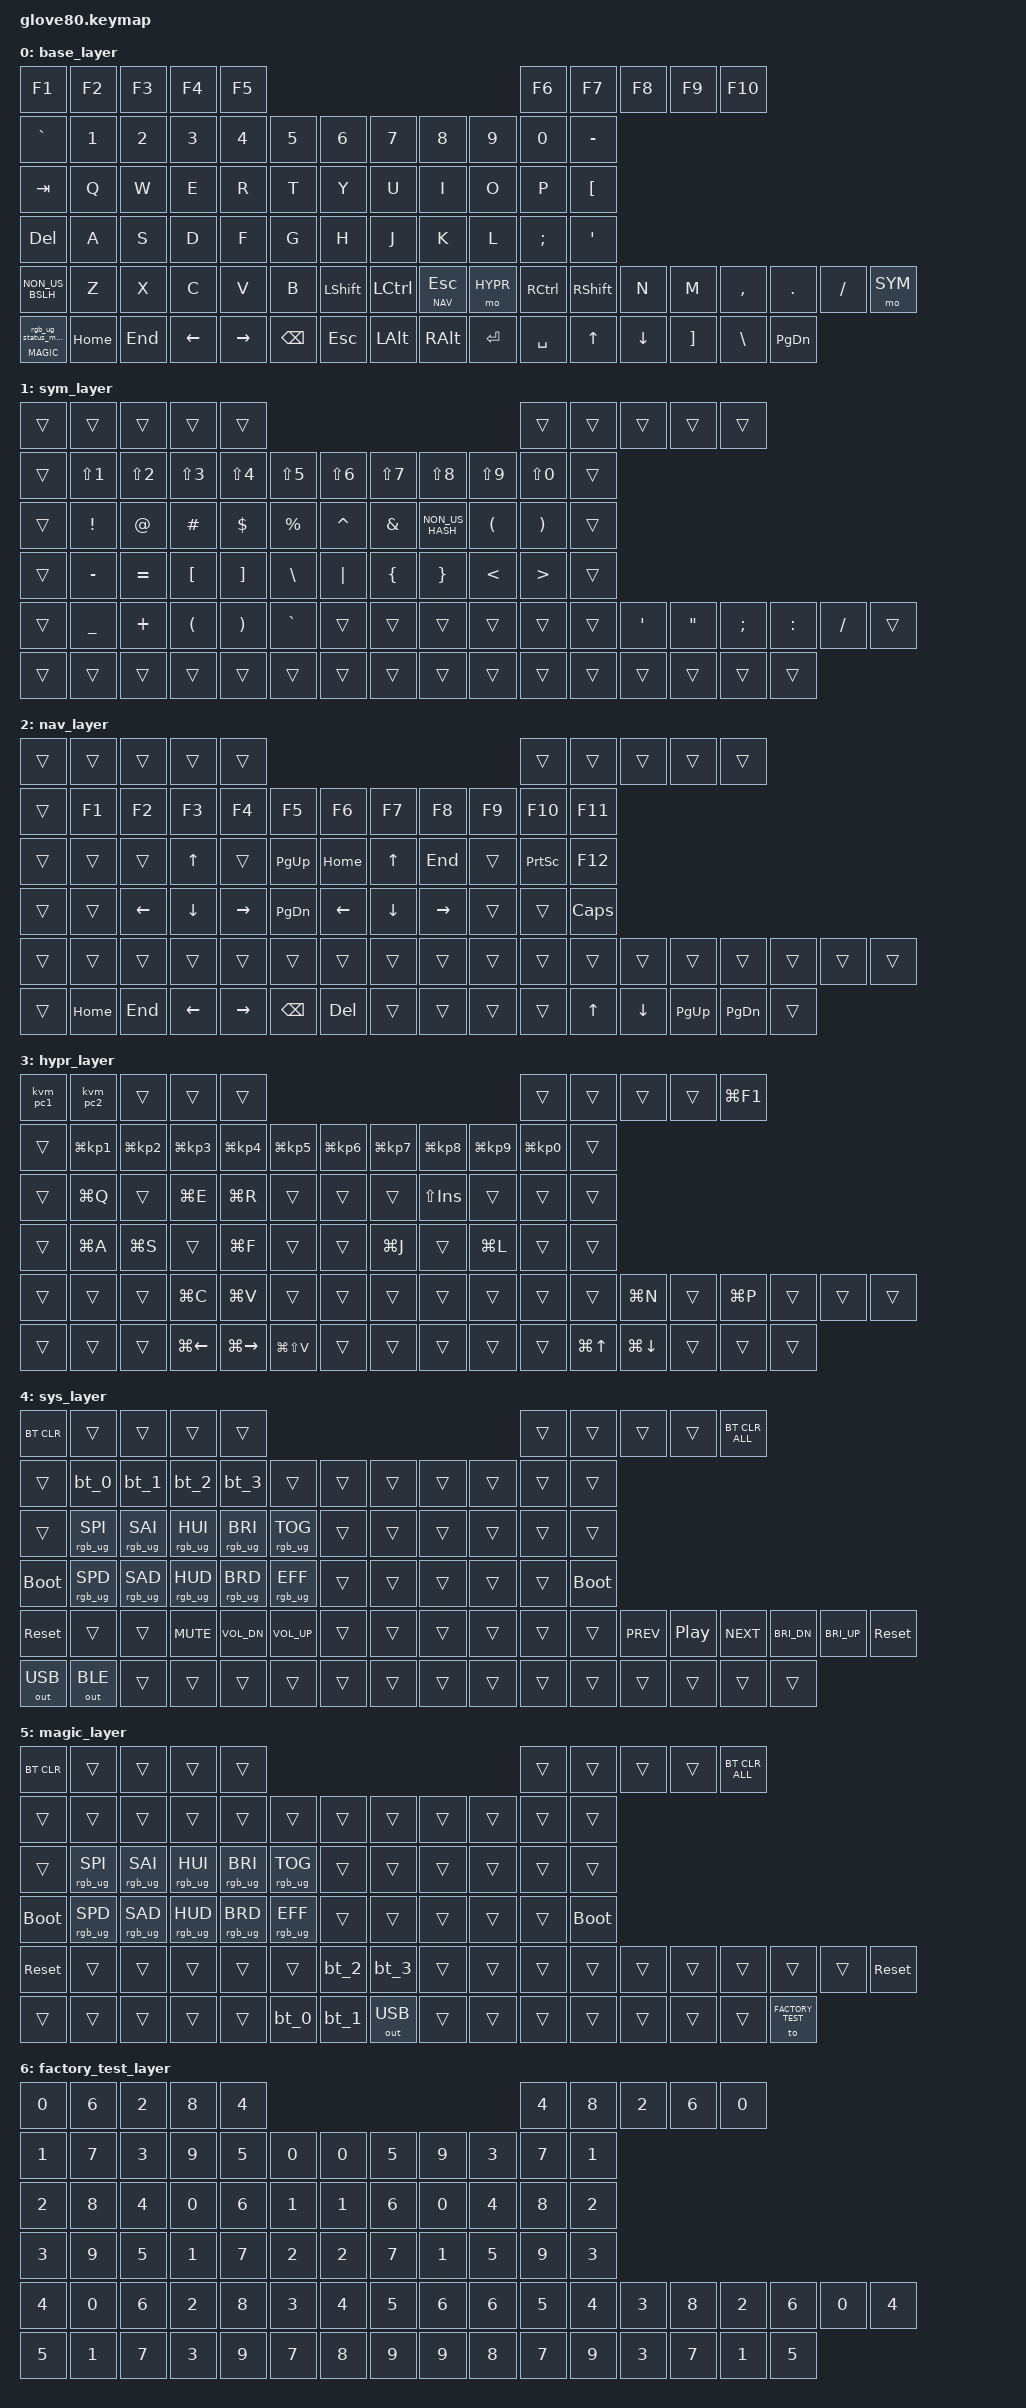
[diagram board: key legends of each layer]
/*
 * Glove80 ZMK config
 *
 * Layers:
 *   0 BASE  — scancodes QWERTY, OS fr/AZERTY fait le mapping
 *   1 SYM   — symboles et chiffres directs
 *   2 NAV   — navigation, F-keys
 *   3 HYPR  — raccourcis Hyprland (Super+key)
 *   4 SYS   — BT, médias, RGB
 *   5 MAGIC — RGB/BT (touche magic bas-gauche)
 *   6 FACTORY_TEST
 *
 * Thumb cluster :
 *   Row5 inner-L : [LSHFT] [LCTRL] [NAV/ESC]
 *   Row5 inner-R : [HYPR]  [RCTRL] [RSHFT]
 *   Row6 outer-L : [BSPC]  [DEL]   [LALT]
 *   Row6 outer-R : [RALT]  [RET]   [SPACE]
 *   Row5 pos 0   : GRAVE (²)   Row5 pos 17 : SYM
 *
 * Layer HYPR — maintenir pouce droit + touche :
 *   F1/F2 = KVM : envoie F14/F13 à l'hôte courant (bascule écran + souris)
 *   puis passe le clavier sur le profil BT 0 (ce PC) / 1 (autre PC).
 *   Shift/Ctrl sont transparents → Super+Shift+X et Super+Ctrl+X marchent
 *   automatiquement en maintenant les modificateurs physiques.
 */

#include <behaviors.dtsi>
#include <dt-bindings/zmk/keys.h>
#include <dt-bindings/zmk/bt.h>
#include <dt-bindings/zmk/ext_power.h>
#include <dt-bindings/zmk/outputs.h>
#include <dt-bindings/zmk/rgb.h>

#define BASE         0
#define SYM          1
#define NAV          2
#define HYPR         3
#define SYS          4
#define MAGIC        5
#define FACTORY_TEST 6

/ {
    behaviors {
        magic: magic_hold_tap {
            compatible = "zmk,behavior-hold-tap";
            label = "MAGIC_HOLD_TAP";
            #binding-cells = <2>;
            flavor = "tap-preferred";
            tapping-term-ms = <200>;
            bindings = <&mo>, <&rgb_ug_status_macro>;
        };
    };

    macros {
        rgb_ug_status_macro: rgb_ug_status_macro_0 {
            label = "RGB_UG_STATUS";
            compatible = "zmk,behavior-macro";
            #binding-cells = <0>;
            bindings = <&rgb_ug RGB_STATUS>;
        };
        bt_0: bt_profile_macro_0 {
            label = "BT_0";
            compatible = "zmk,behavior-macro";
            #binding-cells = <0>;
            bindings = <&out OUT_BLE>, <&bt BT_SEL 0>;
        };
        bt_1: bt_profile_macro_1 {
            label = "BT_1";
            compatible = "zmk,behavior-macro";
            #binding-cells = <0>;
            bindings = <&out OUT_BLE>, <&bt BT_SEL 1>;
        };
        bt_2: bt_profile_macro_2 {
            label = "BT_2";
            compatible = "zmk,behavior-macro";
            #binding-cells = <0>;
            bindings = <&out OUT_BLE>, <&bt BT_SEL 2>;
        };
        bt_3: bt_profile_macro_3 {
            label = "BT_3";
            compatible = "zmk,behavior-macro";
            #binding-cells = <0>;
            bindings = <&out OUT_BLE>, <&bt BT_SEL 3>;
        };
        // KVM: tap F13/F14 on the current host (it hands over screen + mouse),
        // then switch the keyboard itself to the target BT profile.
        kvm_pc1: kvm_pc1_macro {
            label = "KVM_PC1";
            compatible = "zmk,behavior-macro";
            #binding-cells = <0>;
            wait-ms = <30>;
            tap-ms = <30>;
            bindings = <&macro_tap &kp F14>, <&macro_wait_time 300>, <&macro_tap &out OUT_BLE &bt BT_SEL 0>;
        };
        kvm_pc2: kvm_pc2_macro {
            label = "KVM_PC2";
            compatible = "zmk,behavior-macro";
            #binding-cells = <0>;
            wait-ms = <30>;
            tap-ms = <30>;
            bindings = <&macro_tap &kp F13>, <&macro_wait_time 300>, <&macro_tap &out OUT_BLE &bt BT_SEL 1>;
        };
    };

    keymap {
        compatible = "zmk,keymap";

        // ── BASE (L0) ──────────────────────────────────────────────────────────
        // Scancodes QWERTY standard. L'OS fr/AZERTY interprète : Q→a, W→z, etc.
        base_layer {
            bindings = <
            // Row 1 — F-keys (10)
            &kp F1         &kp F2    &kp F3   &kp F4    &kp F5                                                             &kp F6  &kp F7   &kp F8    &kp F9    &kp F10
            // Row 2 — Rangée chiffres AZERTY (12)  ²  &  é  "  '  (  -  è  _  ç  à  )
            &kp GRAVE      &kp N1    &kp N2   &kp N3    &kp N4    &kp N5                                       &kp N6     &kp N7  &kp N8   &kp N9    &kp N0    &kp MINUS
            // Row 3 — Alpha haut (12)  TAB  a  z  e  r  t  |  y  u  i  o  p  ^
            &kp TAB        &kp Q     &kp W    &kp E     &kp R     &kp T                                        &kp Y      &kp U   &kp I    &kp O     &kp P     &kp LBKT
            // Row 4 — Home row (12)   DEL  q  s  d  f  g  |  h  j  k  l  m  ù
            &kp DEL        &kp A     &kp S    &kp D     &kp F     &kp G                                        &kp H      &kp J   &kp K    &kp L     &kp SEMI  &kp SQT
            // Row 5 — Alpha bas + thumbs inner (18)
            // <> z  x  c  v  b  | LSHFT LCTRL NAV/ESC | HYPR RCTRL RSHFT |  n  m  ,  .  /  SYM
            &kp NON_US_BSLH  &kp Z  &kp X  &kp C  &kp V  &kp B   &kp LSHFT  &kp LCTRL  &lt NAV ESC   &mo HYPR  &kp RCTRL  &kp RSHFT   &kp N  &kp M  &kp COMMA  &kp DOT  &kp FSLH  &mo SYM
            // Row 6 — Modifiers + thumbs outer (16)
            // MAGIC HOME END LEFT RIGHT | BSPC ESC LALT | RALT RET SPACE | UP DOWN ] \ PgDn
            &magic MAGIC 0  &kp HOME  &kp END  &kp LEFT  &kp RIGHT   &kp BSPC  &kp ESC  &kp LALT   &kp RALT  &kp RET  &kp SPACE   &kp UP  &kp DOWN  &kp RBKT  &kp BSLH  &kp PG_DN
            >;
        };

        // ── SYM (L1) ───────────────────────────────────────────────────────────
        // Symboles US directs (bypass mapping AZERTY) + chiffres via LS(Nx).
        sym_layer {
            bindings = <
            // Row 1
            &trans  &trans  &trans  &trans  &trans                                              &trans  &trans  &trans  &trans  &trans
            // Row 2 — Chiffres 1-0 (LS(Nx) → AZERTY donne les chiffres)
            &trans  &kp LS(N1)  &kp LS(N2)  &kp LS(N3)  &kp LS(N4)  &kp LS(N5)    &kp LS(N6)  &kp LS(N7)  &kp LS(N8)  &kp LS(N9)  &kp LS(N0)  &trans
            // Row 3 — ! @ # $ % | ^ & * ( )
            &trans  &kp EXCL  &kp AT  &kp HASH  &kp DLLR  &kp PRCNT    &kp CARET  &kp AMPS  &kp NON_US_HASH  &kp LPAR  &kp RPAR  &trans
            // Row 4 — - = [ ] \ | | { } < >
            &trans  &kp MINUS  &kp EQUAL  &kp LBKT  &kp RBKT  &kp BSLH    &kp PIPE  &kp LBRC  &kp RBRC  &kp LT  &kp GT  &trans
            // Row 5 — _ + ( ) ` | ' " ; :
            &trans  &kp UNDER  &kp PLUS  &kp LPAR  &kp RPAR  &kp GRAVE   &trans  &trans  &trans   &trans  &trans  &trans   &kp SQT  &kp DQT  &kp SEMI  &kp COLON  &kp FSLH  &trans
            // Row 6
            &trans  &trans  &trans  &trans  &trans   &trans  &trans  &trans   &trans  &trans  &trans   &trans  &trans  &trans  &trans  &trans
            >;
        };

        // ── NAV (L2) ───────────────────────────────────────────────────────────
        nav_layer {
            bindings = <
            // Row 1
            &trans  &trans  &trans  &trans  &trans                                              &trans  &trans  &trans  &trans  &trans
            // Row 2 — F1-F12
            &trans  &kp F1  &kp F2  &kp F3  &kp F4  &kp F5    &kp F6  &kp F7  &kp F8  &kp F9  &kp F10  &kp F11
            // Row 3 — flèche haut + PgUp
            &trans  &trans  &trans  &kp UP  &trans  &kp PG_UP    &kp HOME  &kp UP  &kp END  &trans  &kp PSCRN  &kp F12
            // Row 4 — flèches
            &trans  &trans  &kp LEFT  &kp DOWN  &kp RIGHT  &kp PG_DN    &kp LEFT  &kp DOWN  &kp RIGHT  &trans  &trans  &kp CAPS
            // Row 5
            &trans  &trans  &trans  &trans  &trans  &trans   &trans  &trans  &trans   &trans  &trans  &trans   &trans  &trans  &trans  &trans  &trans  &trans
            // Row 6
            &trans  &kp HOME  &kp END  &kp LEFT  &kp RIGHT   &kp BSPC  &kp DEL  &trans   &trans  &trans  &trans   &kp UP  &kp DOWN  &kp PG_UP  &kp PG_DN  &trans
            >;
        };

        // ── HYPR (L3) ──────────────────────────────────────────────────────────
        // Maintenir pouce droit (HYPR) + touche = raccourci Hyprland.
        //
        // Modificateurs physiques passent en transparent :
        //   Shift + HYPR + flèche  → Super+Shift+flèche  (déplacer fenêtre)
        //   Ctrl  + HYPR + flèche  → Super+Ctrl+flèche   (groupe workspaces)
        //   Shift + HYPR + chiffre → Super+Shift+KP_Nx   (fenêtre → workspace)
        //
        // Raccourcis mappés (d'après keybinds.conf) :
        //   Q=terminal  E=thunar   R=rofi     F=fullscreen  V=float
        //   A=notifs    S=scratchpad J=split   L=lock        C=kill
        //   N=rename-ws P=pseudo   F1=aide
        //   Flèches = focus (Shift/Ctrl passent automatiquement)
        //   Chiffres 1-0 = workspace (Super+KP_N1..N0)
        //   BSPC-thumb = clipboard (Super+Shift+V)
        hypr_layer {
            bindings = <
            // Row 1 — F1=KVM ce PC (BT0)  F2=KVM autre PC (BT1)  F10=aide raccourcis
            &kvm_pc1  &kvm_pc2  &trans  &trans  &trans                                              &trans  &trans  &trans  &trans  &kp LG(F1)
            // Row 2 — Workspaces 1-10 via KP (correspond aux code:87..90,83..81,79..81,90)
            &trans  &kp LG(KP_N1)  &kp LG(KP_N2)  &kp LG(KP_N3)  &kp LG(KP_N4)  &kp LG(KP_N5)    &kp LG(KP_N6)  &kp LG(KP_N7)  &kp LG(KP_N8)  &kp LG(KP_N9)  &kp LG(KP_N0)  &trans
            // Row 3 — Q=terminal  E=thunar  R=rofi  I=Shift+Insert (coller presse-papier X11)
            &trans  &kp LG(Q)  &trans  &kp LG(E)  &kp LG(R)  &trans    &trans  &trans  &kp LS(INS)  &trans  &trans  &trans
            // Row 4 — A=notifs  S=scratchpad  F=fullscreen  J=split  L=lock
            &trans  &kp LG(A)  &kp LG(S)  &trans  &kp LG(F)  &trans    &trans  &kp LG(J)  &trans  &kp LG(L)  &trans  &trans
            // Row 5 — C=kill  V=float  N=rename-ws  P=pseudo
            &trans  &trans  &trans  &kp LG(C)  &kp LG(V)  &trans   &trans  &trans  &trans   &trans  &trans  &trans   &kp LG(N)  &trans  &kp LG(P)  &trans  &trans  &trans
            // Row 6 — flèches=focus | BSPC-thumb=clipboard
            &trans  &trans  &trans  &kp LG(LEFT)  &kp LG(RIGHT)   &kp LG(LS(V))  &trans  &trans   &trans  &trans  &trans   &kp LG(UP)  &kp LG(DOWN)  &trans  &trans  &trans
            >;
        };

        // ── SYS (L4) ───────────────────────────────────────────────────────────
        sys_layer {
            bindings = <
            // Row 1
            &bt BT_CLR  &trans  &trans  &trans  &trans                                              &trans  &trans  &trans  &trans  &bt BT_CLR_ALL
            // Row 2 — Profils BT 0-3
            &trans  &bt_0  &bt_1  &bt_2  &bt_3  &trans    &trans  &trans  &trans  &trans  &trans  &trans
            // Row 3 — RGB
            &trans  &rgb_ug RGB_SPI  &rgb_ug RGB_SAI  &rgb_ug RGB_HUI  &rgb_ug RGB_BRI  &rgb_ug RGB_TOG    &trans  &trans  &trans  &trans  &trans  &trans
            // Row 4 — RGB cont. + bootloader
            &bootloader  &rgb_ug RGB_SPD  &rgb_ug RGB_SAD  &rgb_ug RGB_HUD  &rgb_ug RGB_BRD  &rgb_ug RGB_EFF    &trans  &trans  &trans  &trans  &trans  &bootloader
            // Row 5 — Médias + sys_reset
            &sys_reset  &trans  &trans  &kp C_MUTE  &kp C_VOL_DN  &kp C_VOL_UP   &trans  &trans  &trans   &trans  &trans  &trans   &kp C_PREV  &kp C_PP  &kp C_NEXT  &kp C_BRI_DN  &kp C_BRI_UP  &sys_reset
            // Row 6 — USB/BLE
            &out OUT_USB  &out OUT_BLE  &trans  &trans  &trans   &trans  &trans  &trans   &trans  &trans  &trans   &trans  &trans  &trans  &trans  &trans
            >;
        };

        // ── MAGIC (L5) ─────────────────────────────────────────────────────────
        magic_layer {
            bindings = <
            &bt BT_CLR  &trans  &trans  &trans  &trans                                              &trans  &trans  &trans  &trans  &bt BT_CLR_ALL
            &trans  &trans  &trans  &trans  &trans  &trans    &trans  &trans  &trans  &trans  &trans  &trans
            &trans  &rgb_ug RGB_SPI  &rgb_ug RGB_SAI  &rgb_ug RGB_HUI  &rgb_ug RGB_BRI  &rgb_ug RGB_TOG    &trans  &trans  &trans  &trans  &trans  &trans
            &bootloader  &rgb_ug RGB_SPD  &rgb_ug RGB_SAD  &rgb_ug RGB_HUD  &rgb_ug RGB_BRD  &rgb_ug RGB_EFF    &trans  &trans  &trans  &trans  &trans  &bootloader
            &sys_reset  &trans  &trans  &trans  &trans  &trans   &bt_2  &bt_3  &trans   &trans  &trans  &trans   &trans  &trans  &trans  &trans  &trans  &sys_reset
            &trans  &trans  &trans  &trans  &trans   &bt_0  &bt_1  &out OUT_USB   &trans  &trans  &trans   &trans  &trans  &trans  &trans  &to FACTORY_TEST
            >;
        };

        // ── FACTORY TEST (L6) ──────────────────────────────────────────────────
        factory_test_layer {
            bindings = <
            &kp N0  &kp N6  &kp N2  &kp N8  &kp N4                                               &kp N4  &kp N8  &kp N2  &kp N6  &kp N0
            &kp N1  &kp N7  &kp N3  &kp N9  &kp N5  &kp N0    &kp N0  &kp N5  &kp N9  &kp N3  &kp N7  &kp N1
            &kp N2  &kp N8  &kp N4  &kp N0  &kp N6  &kp N1    &kp N1  &kp N6  &kp N0  &kp N4  &kp N8  &kp N2
            &kp N3  &kp N9  &kp N5  &kp N1  &kp N7  &kp N2    &kp N2  &kp N7  &kp N1  &kp N5  &kp N9  &kp N3
            &kp N4  &kp N0  &kp N6  &kp N2  &kp N8  &kp N3   &kp N4  &kp N5  &kp N6   &kp N6  &kp N5  &kp N4   &kp N3  &kp N8  &kp N2  &kp N6  &kp N0  &kp N4
            &kp N5  &kp N1  &kp N7  &kp N3  &kp N9   &kp N7  &kp N8  &kp N9   &kp N9  &kp N8  &kp N7   &kp N9  &kp N3  &kp N7  &kp N1  &kp N5
            >;
        };
    };
};
